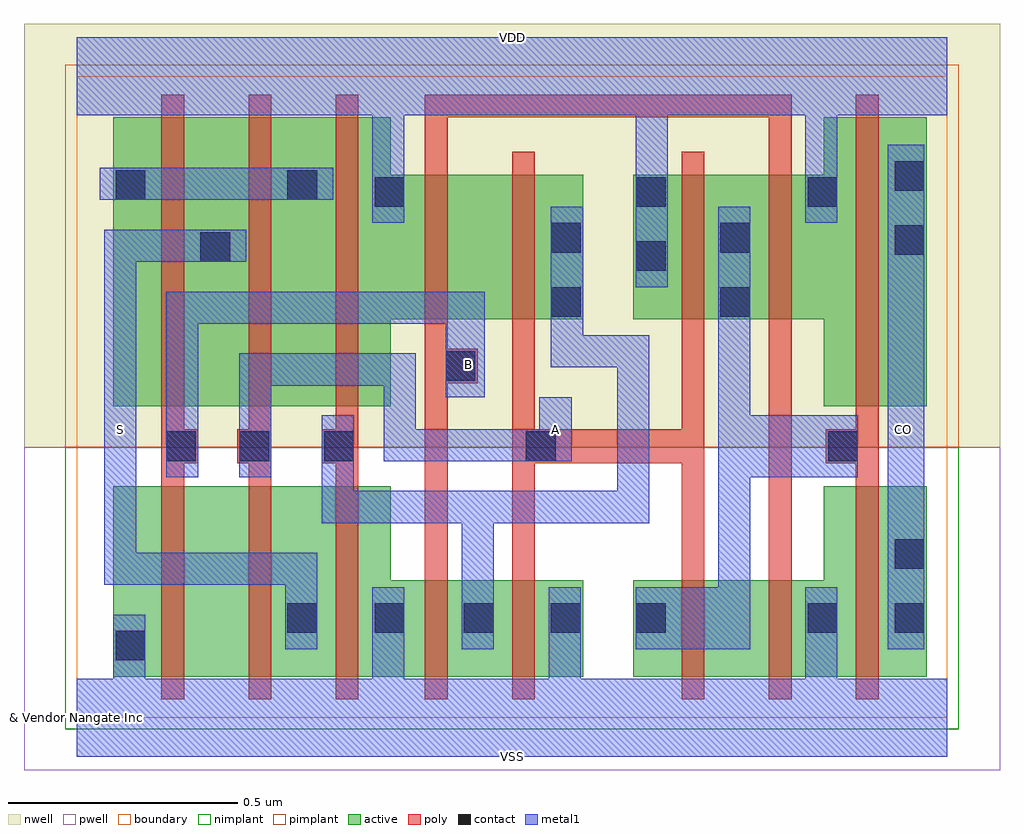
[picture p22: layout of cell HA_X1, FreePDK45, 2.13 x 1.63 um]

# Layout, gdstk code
import gdstk
lib = gdstk.Library(unit=1e-6, precision=1e-09)
def R(c, l, rs):  # rectangles x0, y0, x1, y1
    for r in rs: c.add(gdstk.rectangle(r[:2], r[2:], *l))
def P(c, l, *ps):  # polygons
    for p in ps: c.add(gdstk.Polygon(p, *l))
active = (1, 0)
pwell = (2, 0)
nwell = (3, 0)
nimplant = (4, 0)
pimplant = (5, 0)
poly = (9, 0)
contact = (10, 0)
metal1 = (11, 0)
boundary = (235, 0)

ha_x1 = lib.new_cell('HA_X1')
P(ha_x1, active, [(0.08,0.09),(1.105,0.09),(1.105,0.3),(0.685,0.3),(0.685,0.505),(0.08,0.505)],
  [(0.08,0.68),(0.685,0.68),(0.685,0.87),(1.105,0.87),(1.105,1.185),(0.685,1.185),(0.685,1.31),(0.08,1.31)],
  [(1.215,0.09),(1.855,0.09),(1.855,0.505),(1.63,0.505),(1.63,0.3),(1.215,0.3)],
  [(1.215,0.87),(1.63,0.87),(1.63,0.68),(1.855,0.68),(1.855,1.31),(1.63,1.31),(1.63,1.185),(1.215,1.185)])
R(ha_x1, pwell, [(-0.115,-0.115,2.015,0.59)])
R(ha_x1, nwell, [(-0.115,0.59,2.015,1.515)])
R(ha_x1, nimplant, [(-0.025,-0.025,1.925,0.59)])
R(ha_x1, pimplant, [(-0.025,0.59,1.925,1.425)])
P(ha_x1, poly, [(0.185,0.04),(0.235,0.04),(0.235,0.555),(0.265,0.555),(0.265,0.63),(0.235,0.63),(0.235,1.36),(0.185,1.36)],
  [(0.35,0.555),(0.375,0.555),(0.375,0.04),(0.425,0.04),(0.425,1.36),(0.375,1.36),(0.375,0.63),(0.35,0.63)],
  [(0.535,0.555),(0.565,0.555),(0.565,0.04),(0.615,0.04),(0.615,1.36),(0.565,1.36),(0.565,0.63),(0.535,0.63)],
  [(0.95,0.04),(1,0.04),(1,0.555),(1.32,0.555),(1.32,0.04),(1.37,0.04),(1.37,1.235),(1.32,1.235),(1.32,0.63),(1,0.63),(1,1.235),(0.95,1.235)],
  [(0.81,1.31),(1.51,1.31),(1.51,0.04),(1.56,0.04),(1.56,1.36),(0.76,1.36),(0.76,0.04),(0.81,0.04),(0.81,0.73),(0.875,0.73),(0.875,0.805),(0.81,0.805)],
  [(1.635,0.555),(1.7,0.555),(1.7,0.04),(1.75,0.04),(1.75,1.36),(1.7,1.36),(1.7,0.63),(1.635,0.63)])
R(ha_x1, contact, [(0.085,0.125,0.15,0.19), (0.46,0.185,0.525,0.25), (0.65,0.185,0.715,0.25), (0.845,0.185,0.91,0.25), (1.035,0.185,1.1,0.25), (1.22,0.185,1.285,0.25), (1.595,0.185,1.66,0.25), (1.785,0.185,1.85,0.25), (1.785,0.325,1.85,0.39), (0.195,0.56,0.26,0.625), (0.355,0.56,0.42,0.625), (0.54,0.56,0.605,0.625), (0.98,0.56,1.045,0.625), (1.64,0.56,1.705,0.625), (0.805,0.735,0.87,0.8), (1.035,0.875,1.1,0.94), (1.405,0.875,1.47,0.94), (1.22,0.975,1.285,1.04), (0.27,0.995,0.335,1.06), (1.785,1.01,1.85,1.075), (1.035,1.015,1.1,1.08), (1.405,1.015,1.47,1.08), (0.65,1.115,0.715,1.18), (1.22,1.115,1.285,1.18), (1.595,1.115,1.66,1.18), (0.085,1.13,0.15,1.195), (0.46,1.13,0.525,1.195), (1.785,1.15,1.85,1.215)])
R(ha_x1, metal1, [(1.77,0.15,1.85,1.25), (0.05,1.13,0.56,1.2)])
P(ha_x1, metal1, [(0.06,0.29),(0.455,0.29),(0.455,0.15),(0.525,0.15),(0.525,0.36),(0.13,0.36),(0.13,0.995),(0.37,0.995),(0.37,1.065),(0.06,1.065)],
  [(0.195,0.525),(0.265,0.525),(0.265,0.86),(0.805,0.86),(0.805,0.7),(0.89,0.7),(0.89,0.93),(0.195,0.93)],
  [(0.355,0.525),(0.425,0.525),(0.425,0.725),(0.67,0.725),(0.67,0.56),(1.08,0.56),(1.08,0.7),(1.01,0.7),(1.01,0.63),(0.74,0.63),(0.74,0.795),(0.355,0.795)],
  [(1.035,0.765),(1.18,0.765),(1.18,0.495),(0.605,0.495),(0.605,0.66),(0.535,0.66),(0.535,0.425),(0.84,0.425),(0.84,0.15),(0.91,0.15),(0.91,0.425),(1.25,0.425),(1.25,0.835),(1.105,0.835),(1.105,1.115),(1.035,1.115)],
  [(1.22,0.15),(1.47,0.15),(1.47,0.525),(1.705,0.525),(1.705,0.66),(1.47,0.66),(1.47,1.115),(1.4,1.115),(1.4,0.285),(1.22,0.285)],
  [(0,-0.085),(1.9,-0.085),(1.9,0.085),(1.66,0.085),(1.66,0.285),(1.59,0.285),(1.59,0.085),(1.1,0.085),(1.1,0.285),(1.03,0.285),(1.03,0.085),(0.715,0.085),(0.715,0.285),(0.645,0.285),(0.645,0.085),(0.15,0.085),(0.15,0.225),(0.08,0.225),(0.08,0.085),(0,0.085)],
  [(0,1.315),(0.645,1.315),(0.645,1.08),(0.715,1.08),(0.715,1.315),(1.22,1.315),(1.22,0.94),(1.29,0.94),(1.29,1.315),(1.59,1.315),(1.59,1.08),(1.66,1.08),(1.66,1.315),(1.9,1.315),(1.9,1.485),(0,1.485)])
R(ha_x1, boundary, [(0,0,1.9,1.4)])
ha_x1.add(gdstk.Label('A', (1.045,0.63), layer=11, texttype=0))
ha_x1.add(gdstk.Label('B', (0.855,0.77), layer=11, texttype=0))
ha_x1.add(gdstk.Label('CO', (1.805,0.63), layer=11, texttype=0))
ha_x1.add(gdstk.Label('S', (0.095,0.63), layer=11, texttype=0))
ha_x1.add(gdstk.Label('VDD', (0.95,1.485), layer=11, texttype=0))
ha_x1.add(gdstk.Label('VSS', (0.95,-0.085), layer=11, texttype=0))
ha_x1.add(gdstk.Label('& Vendor Nangate Inc', (0,0), layer=63, texttype=63))
ha_x1.add(gdstk.Label('& Product Open Cell Library', (0,0), layer=63, texttype=63))
ha_x1.add(gdstk.Label('& Version 2010_12', (0,0), layer=63, texttype=63))
ha_x1.add(gdstk.Label('& Instance HA_X1', (0,0), layer=63, texttype=63))

lib.write_gds('HA_X1.gds')
